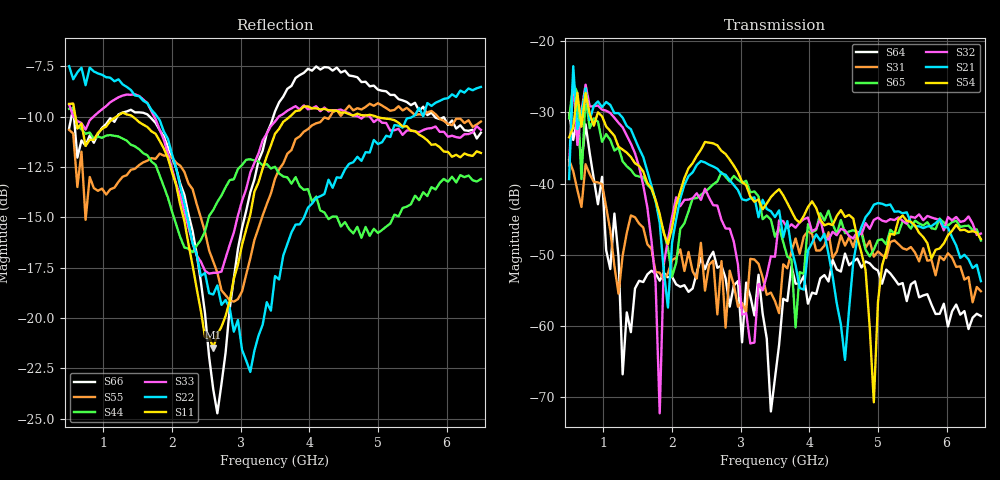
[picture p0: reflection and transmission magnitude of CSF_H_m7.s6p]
!Keysight Technologies,M9804A,MY58100912,A.14.10.03
!Date: Thursday, April 27, 2023 10:28:33
!Correction: S11(C  6-Port  )
!S12(C  6-Port  )
!S13(C  6-Port  )
!S14(C  6-Port  )
!S15(C  6-Port  )
!S16(C  6-Port  )
!S21(C  6-Port  )
!S22(C  6-Port  )
!S23(C  6-Port  )
!S24(C  6-Port  )
!S25(C  6-Port  )
!S26(C  6-Port  )
!S31(C  6-Port  )
!S32(C  6-Port  )
!S33(C  6-Port  )
!S34(C  6-Port  )
!S35(C  6-Port  )
!S36(C  6-Port  )
!S41(C  6-Port  )
!S42(C  6-Port  )
!S43(C  6-Port  )
!S44(C  6-Port  )
!S45(C  6-Port  )
!S46(C  6-Port  )
!S51(C  6-Port  )
!S52(C  6-Port  )
!S53(C  6-Port  )
!S54(C  6-Port  )
!S55(C  6-Port  )
!S56(C  6-Port  )
!S61(C  6-Port  )
!S62(C  6-Port  )
!S63(C  6-Port  )
!S64(C  6-Port  )
!S65(C  6-Port  )
!S66(C  6-Port  )
!S6P File: Measurement: :
# Hz S  RI  R 50
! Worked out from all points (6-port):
!   101 points, 500 MHz to 6.5 GHz, reference 50 ohm
!   strongest paths, dB at 500 MHz, 2 GHz, 3.5 GHz, 5 GHz, 6.5 GHz:
!     S54: -33.5, -46.2, -41.3, -56.7, -47.8
!     S21: -39.4, -48.3, -44.7, -42.7, -53.7
!     S32: -37.5, -44.7, -50.3, -44.8, -47.0
!     S65: -30.9, -53.1, -47.5, -48.0, -48.0
!     S31: -36.7, -50.8, -56.5, -49.5, -55.1
!     S64: -30.1, -53.1, -67.3, -52.2, -58.6
!   lowest |S11| = -21.5 dB at 2.6 GHz (marker M1), VSWR 1.18, Z = 42.5 + j2.19 ohm
!   |S11| at or under -10 dB: 591.7 MHz to 1.187 GHz (595.2 MHz wide, 66.9 % of centre); 1.429 GHz to 3.714 GHz (2.285 GHz wide, 88.9 % of centre); 4.979 GHz to end of sweep
